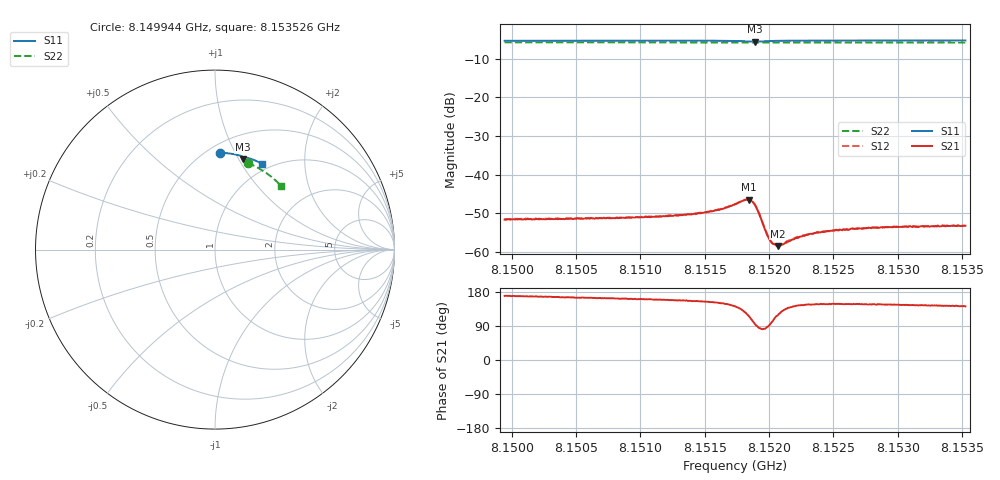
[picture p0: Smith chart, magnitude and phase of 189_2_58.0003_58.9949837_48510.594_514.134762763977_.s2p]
#  HZ  S  RI  R  50.00
! Rohde & Schwarz Vector Network Analyzer
! Rohde-Schwarz,ZNB20-2Port,1311601062101988,3.16
! Created: UTC 3/21/2024, 12:58:45 AM
! freq[Hz]  re:S11  im:S11  re:S21  im:S21  re:S12  im:S12  re:S22  im:S22
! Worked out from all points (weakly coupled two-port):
!   401 points, 8.149944 GHz to 8.153526 GHz, reference 50 ohm
!   highest |S21| = -46.43 dB at 8.151843 GHz (marker M1); lowest = -58.4 dB at 8.152067 GHz (marker M2)
!   lowest |S11| = -5.6 dB at 8.151888 GHz (marker M3), VSWR 3.22, Z = 37.3 + j51.9 ohm
!   |S11| at or under -10 dB: nowhere
!   |S22| runs from -5.8 to -5.7 dB; largest |S21 - S12| = 0.00012
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8.1499443e9  0.0271 0.5396  -0.00258 0.000499  -0.00262 0.000525  0.1829 0.4823
8.1505443e9  0.0693 0.5368  -0.00262 0.000699  -0.00265 0.000745  0.2185 0.4664
8.1511443e9  0.1114 0.5305  -0.00269 0.00103  -0.00269 0.00107  0.2525 0.4482
8.1513145e9  0.1234 0.5279  -0.00277 0.00118  -0.00277 0.00122  0.262 0.4425
8.1515205e9  0.1385 0.5239  -0.00297 0.00147  -0.00295 0.00152  0.273 0.4354
8.1516279e9  0.1468 0.521  -0.0031 0.0018  -0.00313 0.00187  0.279 0.4314
8.1517354e9  0.1556 0.5158  -0.00325 0.00255  -0.00326 0.00265  0.2846 0.4273
8.151807e9  0.1596 0.5089  -0.00286 0.00372  -0.00287 0.00378  0.2882 0.4245
8.1518428e9  0.159 0.5047  -0.00209 0.00429  -0.002 0.00437  0.2899 0.4231
8.1518608e9  0.1573 0.5032  -0.00142 0.00439  -0.00137 0.00447  0.2908 0.4224
8.1518876e9  0.154 0.5031  -0.000462 0.00413  -0.000418 0.00414  0.2919 0.4215
8.1519145e9  0.1521 0.5056  0.000177 0.00339  0.000232 0.00338  0.2932 0.4208
8.1519772e9  0.1548 0.512  0.000172 0.00182  0.000182 0.00181  0.2964 0.4185
8.152004e9  0.1574 0.5134  -7.12e-05 0.00145  -5.37e-05 0.00147  0.2981 0.4176
8.1520309e9  0.1602 0.5142  -0.000297 0.00124  -0.000315 0.00124  0.2994 0.4167
8.1520667e9  0.1637 0.5145  -0.000555 0.00107  -0.000552 0.00106  0.3012 0.4153
8.1521115e9  0.1678 0.5144  -0.000828 0.000953  -0.000818 0.000994  0.3038 0.4134
8.1522011e9  0.1753 0.5132  -0.00118 0.000917  -0.0012 0.000939  0.3083 0.4102
8.1523354e9  0.1854 0.5107  -0.00143 0.00094  -0.00145 0.000968  0.3151 0.4046
8.1525414e9  0.1999 0.5058  -0.00162 0.001  -0.00162 0.00106  0.3253 0.3963
8.1529354e9  0.2261 0.4956  -0.00175 0.00117  -0.00174 0.0012  0.3438 0.3794
8.1535264e9  0.2634 0.4778  -0.00172 0.00136  -0.00174 0.00136  0.3703 0.3526
